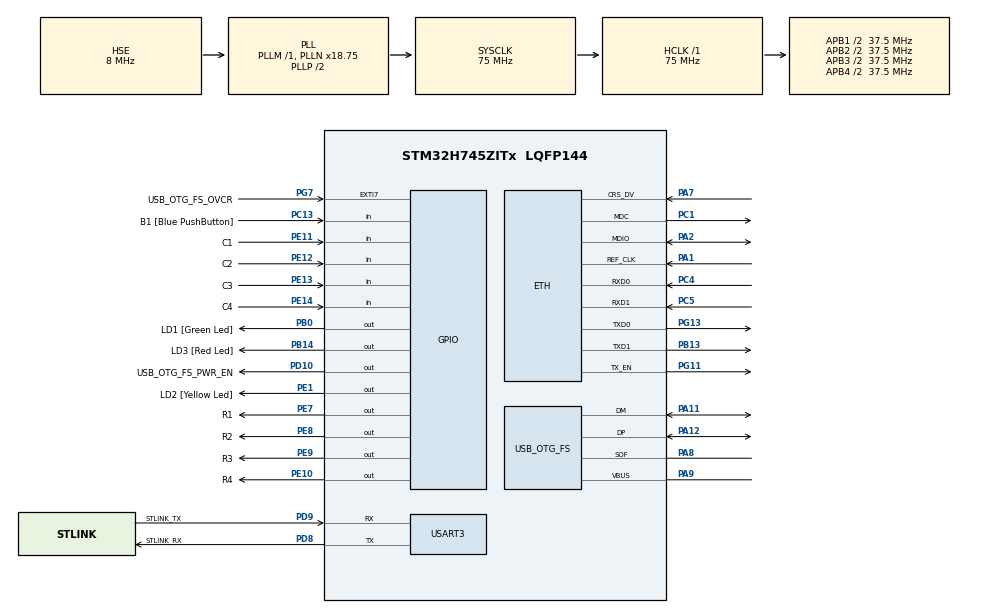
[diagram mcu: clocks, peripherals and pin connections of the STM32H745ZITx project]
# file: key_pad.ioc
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CortexM4.IPs=FATFS_M4\:I,FREERTOS_M4\:I,IWDG2\:I,RCC,WWDG2\:I,DMA,BDMA,MDMA,NVIC2\:I,USART3,ETH,DEBUG,USB_DEVICE_M4\:I,USB_HOST_M4\:I,PDM2PCM_M4\:I,PWR,RESMGR_UTILITY,SYS_M4\:I,CORTEX_M4\:I,OPENAMP_M4\:I,VREFBUF,GPIO
CortexM7.IPs=FATFS_M7\:I,FREERTOS_M7\:I,IWDG1\:I,RCC\:I,WWDG1\:I,DMA\:I,BDMA\:I,MDMA\:I,NVIC1\:I,SYS\:I,USART3\:I,USB_OTG_FS\:I,ETH\:I,CORTEX_M7\:I,DEBUG\:I,USB_DEVICE_M7\:I,USB_HOST_M7\:I,PDM2PCM_M7\:I,PWR\:I,RESMGR_UTILITY\:I,OPENAMP_M7\:I,VREFBUF\:I,GPIO\:I,TIM15\:I
CortexM7.Pins=PE7,PE8,PE9,PE10,PE11,PE12,PE13,PE14,PG7,PE1
ETH.MediaInterface=HAL_ETH_RMII_MODE
FREERTOS_M7.Queues01=QueueLcdMatriz,16,uint16_t,0,Dynamic,NULL,NULL
FREERTOS_M7.Tasks01=defaultTask,24,128,StartDefaultTask,Default,NULL,Dynamic,NULL,NULL;keyPadTask,24,128,StartkeyPadTask,Default,NULL,Dynamic,NULL,NULL
FREERTOS_M7.configUSE_NEWLIB_REENTRANT=1
Mcu.Family=STM32H7
Mcu.Name=STM32H745ZITx
Mcu.Package=LQFP144
NVIC1.PriorityGroup=NVIC_PRIORITYGROUP_4
NVIC1.TIM15_IRQn=true\:15\:0\:false\:false\:true\:false\:false\:true\:true
NVIC1.TimeBase=TIM15_IRQn
NVIC1.TimeBaseIP=TIM15
NVIC2.PriorityGroup=NVIC_PRIORITYGROUP_4
PA1.Mode=RMII
PA1.PinAttribute=CortexM7
PA1.Signal=ETH_REF_CLK
PA11.Mode=Device_Only
PA11.PinAttribute=CortexM7
PA11.Signal=USB_OTG_FS_DM
PA12.Mode=Device_Only
PA12.PinAttribute=CortexM7
PA12.Signal=USB_OTG_FS_DP
PA2.Mode=RMII
PA2.PinAttribute=CortexM7
PA2.Signal=ETH_MDIO
PA7.Mode=RMII
PA7.PinAttribute=CortexM7
PA7.Signal=ETH_CRS_DV
PA8.Mode=Activate_SOF_FS
PA8.PinAttribute=CortexM7
PA8.Signal=USB_OTG_FS_SOF
PA9.Mode=Activate_VBUS
PA9.PinAttribute=CortexM7
PA9.Signal=USB_OTG_FS_VBUS
PB0.GPIO_Label=LD1 [Green Led]
PB0.GPIO_PuPd=GPIO_PULLUP
PB0.PinAttribute=Free
PB0.Signal=GPIO_Output
PB13.Mode=RMII
PB13.PinAttribute=CortexM7
PB13.Signal=ETH_TXD1
PB14.GPIO_Label=LD3 [Red Led]
PB14.GPIO_PuPd=GPIO_PULLUP
PB14.PinAttribute=Free
PB14.Signal=GPIO_Output
PC1.Mode=RMII
PC1.PinAttribute=CortexM7
PC1.Signal=ETH_MDC
PC13.GPIO_Label=B1 [Blue PushButton]
PC13.PinAttribute=Free
PC13.Signal=GPIO_Input
PC14-OSC32_IN\ (OSC32_IN).Mode=LSE-External-Oscillator
PC14-OSC32_IN\ (OSC32_IN).PinAttribute=CortexM7
PC14-OSC32_IN\ (OSC32_IN).Signal=RCC_OSC32_IN
PC15-OSC32_OUT\ (OSC32_OUT).Mode=LSE-External-Oscillator
PC15-OSC32_OUT\ (OSC32_OUT).PinAttribute=CortexM7
PC15-OSC32_OUT\ (OSC32_OUT).Signal=RCC_OSC32_OUT
PC4.Mode=RMII
PC4.PinAttribute=CortexM7
PC4.Signal=ETH_RXD0
PC5.Mode=RMII
PC5.PinAttribute=CortexM7
PC5.Signal=ETH_RXD1
PD10.GPIO_Label=USB_OTG_FS_PWR_EN
PD10.PinAttribute=Free
PD10.Signal=GPIO_Output
PD8.GPIO_Label=STLINK_RX
PD8.Mode=Asynchronous
PD8.PinAttribute=CortexM7
PD8.Signal=USART3_TX
PD9.GPIO_Label=STLINK_TX
PD9.Mode=Asynchronous
PD9.PinAttribute=CortexM7
PD9.Signal=USART3_RX
PE1.GPIO_Label=LD2 [Yellow Led]
PE1.GPIO_PuPd=GPIO_PULLUP
PE1.PinAttribute=CortexM7
PE1.Signal=GPIO_Output
PE10.GPIO_Label=R4
PE10.GPIO_PuPd=GPIO_PULLUP
PE10.PinAttribute=CortexM7
PE10.Signal=GPIO_Output
PE11.GPIO_Label=C1
PE11.GPIO_PuPd=GPIO_PULLUP
PE11.PinAttribute=CortexM7
PE11.Signal=GPIO_Input
PE12.GPIO_Label=C2
PE12.GPIO_PuPd=GPIO_PULLUP
PE12.PinAttribute=CortexM7
PE12.Signal=GPIO_Input
PE13.GPIO_Label=C3
PE13.GPIO_PuPd=GPIO_PULLUP
PE13.PinAttribute=CortexM7
PE13.Signal=GPIO_Input
PE14.GPIO_Label=C4
PE14.GPIO_PuPd=GPIO_PULLUP
PE14.PinAttribute=CortexM7
PE14.Signal=GPIO_Input
PE7.GPIO_Label=R1
PE7.GPIO_PuPd=GPIO_PULLUP
PE7.PinAttribute=CortexM7
PE7.Signal=GPIO_Output
PE8.GPIO_Label=R2
PE8.GPIO_PuPd=GPIO_PULLUP
PE8.PinAttribute=CortexM7
PE8.Signal=GPIO_Output
PE9.GPIO_Label=R3
PE9.GPIO_PuPd=GPIO_PULLUP
PE9.PinAttribute=CortexM7
PE9.Signal=GPIO_Output
PG11.Mode=RMII
PG11.PinAttribute=CortexM7
PG11.Signal=ETH_TX_EN
PG13.Mode=RMII
PG13.PinAttribute=CortexM7
PG13.Signal=ETH_TXD0
PG7.GPIO_Label=USB_OTG_FS_OVCR
PG7.PinAttribute=CortexM7
PG7.Signal=GPXTI7
PH0-OSC_IN\ (PH0).Mode=HSE-External-Clock-Source
PH0-OSC_IN\ (PH0).PinAttribute=CortexM7
PH0-OSC_IN\ (PH0).Signal=RCC_OSC_IN
PH1-OSC_OUT\ (PH1).PinAttribute=CortexM7
PH1-OSC_OUT\ (PH1).Signal=RCC_OSC_OUT
ProjectManager.HeapSize=M4-0x200,M7-0x200
ProjectManager.StackSize=M4-0x400,M7-0x400
ProjectManager.TargetToolchain=STM32CubeIDE
RCC.ADCFreq_Value=16125000
RCC.APB1Freq_Value=37500000
RCC.APB2Freq_Value=37500000
RCC.APB3Freq_Value=37500000
RCC.APB4Freq_Value=37500000
RCC.CortexFreq_Value=75000000
RCC.D1PPRE=RCC_APB3_DIV2
RCC.D2PPRE1=RCC_APB1_DIV2
RCC.D2PPRE2=RCC_APB2_DIV2
RCC.D3PPRE=RCC_APB4_DIV2
RCC.DIVM1=1
RCC.DIVM3=1
RCC.DIVN1=18
RCC.DIVN3=18
RCC.DIVQ3=3
RCC.HCLKFreq_Value=75000000
RCC.HSE_VALUE=8000000
RCC.PLL2FRACN=0
RCC.PLL3FRACN=6144
RCC.PLLFRACN=6144
RCC.SYSCLKFreq_VALUE=75000000
RCC.SYSCLKSource=RCC_SYSCLKSOURCE_PLLCLK
RCC.SupplySource=PWR_DIRECT_SMPS_SUPPLY
RCC.USBCLockSelection=RCC_USBCLKSOURCE_PLL3
RCC.USBFreq_Value=50000000
USART3.VirtualMode-Asynchronous=VM_ASYNC
USB_OTG_FS.VirtualMode=Device_Only
VP_FREERTOS_M7_VS_CMSIS_V2.Mode=CMSIS_V2
VP_SYS_M4_VS_Systick.Mode=SysTick
VP_SYS_VS_tim15.Mode=TIM15
board=NUCLEO-H745ZI-Q

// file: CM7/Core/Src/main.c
/* USER CODE BEGIN Header */
/**
  ******************************************************************************
  * @file           : main.c
  * @brief          : Main program body
  ******************************************************************************
  * @attention
  *
  * Copyright (c) 2023 STMicroelectronics.
  * All rights reserved.
  *
  * This software is licensed under terms that can be found in the LICENSE file
  * in the root directory of this software component.
  * If no LICENSE file comes with this software, it is provided AS-IS.
  *
  ******************************************************************************
  */
/* USER CODE END Header */
#include "main.h"
#include "string.h"
#include "cmsis_os.h"

/* USER CODE BEGIN PD */

#ifndef HSEM_ID_0
#define HSEM_ID_0 (0U) /* HW semaphore 0*/
#endif

/* USER CODE END PD */

#if defined ( __ICCARM__ ) /*!< IAR Compiler */
#pragma location=0x30000000
ETH_DMADescTypeDef  DMARxDscrTab[ETH_RX_DESC_CNT]; /* Ethernet Rx DMA Descriptors */
#pragma location=0x30000200
ETH_DMADescTypeDef  DMATxDscrTab[ETH_TX_DESC_CNT]; /* Ethernet Tx DMA Descriptors */

#elif defined ( __CC_ARM )  /* MDK ARM Compiler */

__attribute__((at(0x30000000))) ETH_DMADescTypeDef  DMARxDscrTab[ETH_RX_DESC_CNT]; /* Ethernet Rx DMA Descriptors */
__attribute__((at(0x30000200))) ETH_DMADescTypeDef  DMATxDscrTab[ETH_TX_DESC_CNT]; /* Ethernet Tx DMA Descriptors */

#elif defined ( __GNUC__ ) /* GNU Compiler */
ETH_DMADescTypeDef DMARxDscrTab[ETH_RX_DESC_CNT] __attribute__((section(".RxDecripSection"))); /* Ethernet Rx DMA Descriptors */
ETH_DMADescTypeDef DMATxDscrTab[ETH_TX_DESC_CNT] __attribute__((section(".TxDecripSection")));   /* Ethernet Tx DMA Descriptors */

#endif

ETH_TxPacketConfig TxConfig;

ETH_HandleTypeDef heth;

UART_HandleTypeDef huart3;

PCD_HandleTypeDef hpcd_USB_OTG_FS;

/* Definitions for defaultTask */
osThreadId_t defaultTaskHandle;
const osThreadAttr_t defaultTask_attributes = {
  .name = "defaultTask",
  .stack_size = 128 * 4,
  .priority = (osPriority_t) osPriorityNormal,
};
/* Definitions for keyPadTask */
osThreadId_t keyPadTaskHandle;
const osThreadAttr_t keyPadTask_attributes = {
  .name = "keyPadTask",
  .stack_size = 128 * 4,
  .priority = (osPriority_t) osPriorityNormal,
};
/* Definitions for QueueLcdMatriz */
osMessageQueueId_t QueueLcdMatrizHandle;
const osMessageQueueAttr_t QueueLcdMatriz_attributes = {
  .name = "QueueLcdMatriz"
};
/* USER CODE BEGIN PV */
char key;
char val_key;
const char keys [4][4]={{'1','2','3','A'},
						{'4','5','6','B'},
						{'7','8','9','C'},
						{'*','0','#','D'}};
/* USER CODE END PV */

void SystemClock_Config(void);
static void MX_GPIO_Init(void);
static void MX_ETH_Init(void);
static void MX_USART3_UART_Init(void);
static void MX_USB_OTG_FS_PCD_Init(void);
void StartDefaultTask(void *argument);
void StartkeyPadTask(void *argument);

int main(void)
{
/* USER CODE BEGIN Boot_Mode_Sequence_0 */
  int32_t timeout;
/* USER CODE END Boot_Mode_Sequence_0 */

/* USER CODE BEGIN Boot_Mode_Sequence_1 */
  /* Wait until CPU2 boots and enters in stop mode or timeout*/
  timeout = 0xFFFF;
  while((__HAL_RCC_GET_FLAG(RCC_FLAG_D2CKRDY) != RESET) && (timeout-- > 0));
  if ( timeout < 0 )
  {
  Error_Handler();
  }
/* USER CODE END Boot_Mode_Sequence_1 */
  /* MCU Configuration--------------------------------------------------------*/

  /* Reset of all peripherals, Initializes the Flash interface and the Systick. */
  HAL_Init();

  /* Configure the system clock */
  SystemClock_Config();
/* USER CODE BEGIN Boot_Mode_Sequence_2 */
/* When system initialization is finished, Cortex-M7 will release Cortex-M4 by means of
HSEM notification */
/*HW semaphore Clock enable*/
__HAL_RCC_HSEM_CLK_ENABLE();
/*Take HSEM */
HAL_HSEM_FastTake(HSEM_ID_0);
/*Release HSEM in order to notify the CPU2(CM4)*/
HAL_HSEM_Release(HSEM_ID_0,0);
/* wait until CPU2 wakes up from stop mode */
timeout = 0xFFFF;
while((__HAL_RCC_GET_FLAG(RCC_FLAG_D2CKRDY) == RESET) && (timeout-- > 0));
if ( timeout < 0 )
{
Error_Handler();
}
/* USER CODE END Boot_Mode_Sequence_2 */

  /* Initialize all configured peripherals */
  MX_GPIO_Init();
  MX_ETH_Init();
  MX_USART3_UART_Init();
  MX_USB_OTG_FS_PCD_Init();

  /* Init scheduler */
  osKernelInitialize();

  /* Create the queue(s) */
  /* creation of QueueLcdMatriz */
  QueueLcdMatrizHandle = osMessageQueueNew (16, sizeof(uint16_t), &QueueLcdMatriz_attributes);

  /* Create the thread(s) */
  /* creation of defaultTask */
  defaultTaskHandle = osThreadNew(StartDefaultTask, NULL, &defaultTask_attributes);

  /* creation of keyPadTask */
  keyPadTaskHandle = osThreadNew(StartkeyPadTask, NULL, &keyPadTask_attributes);

  /* Start scheduler */
  osKernelStart();

  /* We should never get here as control is now taken by the scheduler */
  /* Infinite loop */
  while (1)
  {

  }
}

void SystemClock_Config(void)
{
  RCC_OscInitTypeDef RCC_OscInitStruct = {0};
  RCC_ClkInitTypeDef RCC_ClkInitStruct = {0};

  /** Supply configuration update enable
  */
  HAL_PWREx_ConfigSupply(PWR_DIRECT_SMPS_SUPPLY);

  /** Configure the main internal regulator output voltage
  */
  __HAL_PWR_VOLTAGESCALING_CONFIG(PWR_REGULATOR_VOLTAGE_SCALE3);

  while(!__HAL_PWR_GET_FLAG(PWR_FLAG_VOSRDY)) {}

  /** Initializes the RCC Oscillators according to the specified parameters
  * in the RCC_OscInitTypeDef structure.
  */
  RCC_OscInitStruct.OscillatorType = RCC_OSCILLATORTYPE_HSE;
  RCC_OscInitStruct.HSEState = RCC_HSE_BYPASS;
  RCC_OscInitStruct.PLL.PLLState = RCC_PLL_ON;
  RCC_OscInitStruct.PLL.PLLSource = RCC_PLLSOURCE_HSE;
  RCC_OscInitStruct.PLL.PLLM = 1;
  RCC_OscInitStruct.PLL.PLLN = 18;
  RCC_OscInitStruct.PLL.PLLP = 2;
  RCC_OscInitStruct.PLL.PLLQ = 2;
  RCC_OscInitStruct.PLL.PLLR = 2;
  RCC_OscInitStruct.PLL.PLLRGE = RCC_PLL1VCIRANGE_3;
  RCC_OscInitStruct.PLL.PLLVCOSEL = RCC_PLL1VCOMEDIUM;
  RCC_OscInitStruct.PLL.PLLFRACN = 6144;
  if (HAL_RCC_OscConfig(&RCC_OscInitStruct) != HAL_OK)
  {
    Error_Handler();
  }

  /** Initializes the CPU, AHB and APB buses clocks
  */
  RCC_ClkInitStruct.ClockType = RCC_CLOCKTYPE_HCLK|RCC_CLOCKTYPE_SYSCLK
                              |RCC_CLOCKTYPE_PCLK1|RCC_CLOCKTYPE_PCLK2
                              |RCC_CLOCKTYPE_D3PCLK1|RCC_CLOCKTYPE_D1PCLK1;
  RCC_ClkInitStruct.SYSCLKSource = RCC_SYSCLKSOURCE_PLLCLK;
  RCC_ClkInitStruct.SYSCLKDivider = RCC_SYSCLK_DIV1;
  RCC_ClkInitStruct.AHBCLKDivider = RCC_HCLK_DIV1;
  RCC_ClkInitStruct.APB3CLKDivider = RCC_APB3_DIV2;
  RCC_ClkInitStruct.APB1CLKDivider = RCC_APB1_DIV2;
  RCC_ClkInitStruct.APB2CLKDivider = RCC_APB2_DIV2;
  RCC_ClkInitStruct.APB4CLKDivider = RCC_APB4_DIV2;

  if (HAL_RCC_ClockConfig(&RCC_ClkInitStruct, FLASH_LATENCY_1) != HAL_OK)
  {
    Error_Handler();
  }
}

static void MX_ETH_Init(void)
{

   static uint8_t MACAddr[6];

  heth.Instance = ETH;
  MACAddr[0] = 0x00;
  MACAddr[1] = 0x80;
  MACAddr[2] = 0xE1;
  MACAddr[3] = 0x00;
  MACAddr[4] = 0x00;
  MACAddr[5] = 0x00;
  heth.Init.MACAddr = &MACAddr[0];
  heth.Init.MediaInterface = HAL_ETH_RMII_MODE;
  heth.Init.TxDesc = DMATxDscrTab;
  heth.Init.RxDesc = DMARxDscrTab;
  heth.Init.RxBuffLen = 1524;

  if (HAL_ETH_Init(&heth) != HAL_OK)
  {
    Error_Handler();
  }

  memset(&TxConfig, 0 , sizeof(ETH_TxPacketConfig));
  TxConfig.Attributes = ETH_TX_PACKETS_FEATURES_CSUM | ETH_TX_PACKETS_FEATURES_CRCPAD;
  TxConfig.ChecksumCtrl = ETH_CHECKSUM_IPHDR_PAYLOAD_INSERT_PHDR_CALC;
  TxConfig.CRCPadCtrl = ETH_CRC_PAD_INSERT;

}

static void MX_USART3_UART_Init(void)
{

  huart3.Instance = USART3;
  huart3.Init.BaudRate = 115200;
  huart3.Init.WordLength = UART_WORDLENGTH_8B;
  huart3.Init.StopBits = UART_STOPBITS_1;
  huart3.Init.Parity = UART_PARITY_NONE;
  huart3.Init.Mode = UART_MODE_TX_RX;
  huart3.Init.HwFlowCtl = UART_HWCONTROL_NONE;
  huart3.Init.OverSampling = UART_OVERSAMPLING_16;
  huart3.Init.OneBitSampling = UART_ONE_BIT_SAMPLE_DISABLE;
  huart3.Init.ClockPrescaler = UART_PRESCALER_DIV1;
  huart3.AdvancedInit.AdvFeatureInit = UART_ADVFEATURE_NO_INIT;
  if (HAL_UART_Init(&huart3) != HAL_OK)
  {
    Error_Handler();
  }
  if (HAL_UARTEx_SetTxFifoThreshold(&huart3, UART_TXFIFO_THRESHOLD_1_8) != HAL_OK)
  {
    Error_Handler();
  }
  if (HAL_UARTEx_SetRxFifoThreshold(&huart3, UART_RXFIFO_THRESHOLD_1_8) != HAL_OK)
  {
    Error_Handler();
  }
  if (HAL_UARTEx_DisableFifoMode(&huart3) != HAL_OK)
  {
    Error_Handler();
  }

}

static void MX_USB_OTG_FS_PCD_Init(void)
{

  hpcd_USB_OTG_FS.Instance = USB_OTG_FS;
  hpcd_USB_OTG_FS.Init.dev_endpoints = 9;
  hpcd_USB_OTG_FS.Init.speed = PCD_SPEED_FULL;
  hpcd_USB_OTG_FS.Init.dma_enable = DISABLE;
  hpcd_USB_OTG_FS.Init.phy_itface = PCD_PHY_EMBEDDED;
  hpcd_USB_OTG_FS.Init.Sof_enable = DISABLE;
  hpcd_USB_OTG_FS.Init.low_power_enable = DISABLE;
  hpcd_USB_OTG_FS.Init.lpm_enable = DISABLE;
  hpcd_USB_OTG_FS.Init.battery_charging_enable = ENABLE;
  hpcd_USB_OTG_FS.Init.vbus_sensing_enable = ENABLE;
  hpcd_USB_OTG_FS.Init.use_dedicated_ep1 = DISABLE;
  if (HAL_PCD_Init(&hpcd_USB_OTG_FS) != HAL_OK)
  {
    Error_Handler();
  }

}

static void MX_GPIO_Init(void)
{
  GPIO_InitTypeDef GPIO_InitStruct = {0};

  /* GPIO Ports Clock Enable */
  __HAL_RCC_GPIOC_CLK_ENABLE();
  __HAL_RCC_GPIOH_CLK_ENABLE();
  __HAL_RCC_GPIOA_CLK_ENABLE();
  __HAL_RCC_GPIOE_CLK_ENABLE();
  __HAL_RCC_GPIOB_CLK_ENABLE();
  __HAL_RCC_GPIOD_CLK_ENABLE();
  __HAL_RCC_GPIOG_CLK_ENABLE();

  /*Configure GPIO pin Output Level */
  HAL_GPIO_WritePin(GPIOE, R1_Pin|R2_Pin|R3_Pin|R4_Pin
                          |LD2_Pin, GPIO_PIN_RESET);

  /*Configure GPIO pins : R1_Pin R2_Pin R3_Pin R4_Pin
                           LD2_Pin */
  GPIO_InitStruct.Pin = R1_Pin|R2_Pin|R3_Pin|R4_Pin
                          |LD2_Pin;
  GPIO_InitStruct.Mode = GPIO_MODE_OUTPUT_PP;
  GPIO_InitStruct.Pull = GPIO_PULLUP;
  GPIO_InitStruct.Speed = GPIO_SPEED_FREQ_LOW;
  HAL_GPIO_Init(GPIOE, &GPIO_InitStruct);

  /*Configure GPIO pins : C1_Pin C2_Pin C3_Pin C4_Pin */
  GPIO_InitStruct.Pin = C1_Pin|C2_Pin|C3_Pin|C4_Pin;
  GPIO_InitStruct.Mode = GPIO_MODE_INPUT;
  GPIO_InitStruct.Pull = GPIO_PULLUP;
  HAL_GPIO_Init(GPIOE, &GPIO_InitStruct);

  /*Configure GPIO pin : USB_OTG_FS_OVCR_Pin */
  GPIO_InitStruct.Pin = USB_OTG_FS_OVCR_Pin;
  GPIO_InitStruct.Mode = GPIO_MODE_IT_RISING;
  GPIO_InitStruct.Pull = GPIO_NOPULL;
  HAL_GPIO_Init(USB_OTG_FS_OVCR_GPIO_Port, &GPIO_InitStruct);

}

void StartDefaultTask(void *argument)
{
  for(;;)
  {
    osDelay(1);
  }
}

void StartkeyPadTask(void *argument)
{
  /* USER CODE BEGIN StartkeyPadTask */
	val_key = 0;
	char msg [50];
  /* Infinite loop */
  for(;;)
  {
    osDelay(1);

    	HAL_GPIO_WritePin(R1_GPIO_Port, R1_Pin, GPIO_PIN_RESET);
    	HAL_GPIO_WritePin(R2_GPIO_Port, R2_Pin, GPIO_PIN_SET);
    	HAL_GPIO_WritePin(R3_GPIO_Port, R3_Pin, GPIO_PIN_SET);
    	HAL_GPIO_WritePin(R4_GPIO_Port, R4_Pin, GPIO_PIN_SET);

    	if(!(HAL_GPIO_ReadPin(C1_GPIO_Port, C1_Pin))){
    		HAL_Delay(4);
    		while(!(HAL_GPIO_ReadPin (C1_GPIO_Port, C1_Pin)));
    		HAL_Delay(4);
    		val_key = keys[0][0];
    	}
    	if(!(HAL_GPIO_ReadPin(C2_GPIO_Port, C2_Pin))){
    		HAL_Delay(4);
    		while(!(HAL_GPIO_ReadPin(C2_GPIO_Port, C2_Pin)));
    		HAL_Delay(4);
    		val_key = keys[0][1];
    	}
    	if(!(HAL_GPIO_ReadPin(C3_GPIO_Port, C3_Pin))){
    		HAL_Delay(4);
    		while(!(HAL_GPIO_ReadPin(C3_GPIO_Port, C3_Pin)));
    		HAL_Delay(4);
    		val_key = keys[0][2];
    	}
    	if (!(HAL_GPIO_ReadPin(C4_GPIO_Port, C4_Pin))){
    		HAL_Delay(4);
    		while(!(HAL_GPIO_ReadPin(C4_GPIO_Port, C4_Pin)));
    		HAL_Delay(4);
    		val_key = keys[0][3];
    	}

    	HAL_GPIO_WritePin(R1_GPIO_Port, R1_Pin, GPIO_PIN_SET);
    	HAL_GPIO_WritePin(R2_GPIO_Port, R2_Pin, GPIO_PIN_RESET);
    	HAL_GPIO_WritePin(R3_GPIO_Port, R3_Pin, GPIO_PIN_SET);
    	HAL_GPIO_WritePin(R4_GPIO_Port, R4_Pin, GPIO_PIN_SET);

    	if(!(HAL_GPIO_ReadPin(C1_GPIO_Port, C1_Pin))){
    		HAL_Delay(4);
    		while(!(HAL_GPIO_ReadPin(C1_GPIO_Port, C1_Pin)));
    		HAL_Delay(4);
    		val_key = keys[1][0];
    	}
    	if(!(HAL_GPIO_ReadPin(C2_GPIO_Port, C2_Pin))){
    		HAL_Delay(4);
    		while(!(HAL_GPIO_ReadPin(C2_GPIO_Port, C2_Pin)));
    		HAL_Delay(4);
    		val_key = keys[1][1];
    	}
    	if(!(HAL_GPIO_ReadPin(C3_GPIO_Port, C3_Pin))){
    		HAL_Delay(4);
    		while(!(HAL_GPIO_ReadPin(C3_GPIO_Port, C3_Pin)));
    		HAL_Delay(4);
    		val_key = keys[1][2];
    	}
    	if(!(HAL_GPIO_ReadPin(C4_GPIO_Port, C4_Pin))){
    		HAL_Delay(4);
    		while(!(HAL_GPIO_ReadPin(C4_GPIO_Port, C4_Pin)));
    		HAL_Delay(4);
    		val_key = keys[1][3];
    	}

    	HAL_GPIO_WritePin(R1_GPIO_Port, R1_Pin, GPIO_PIN_SET);
    	HAL_GPIO_WritePin(R2_GPIO_Port, R2_Pin, GPIO_PIN_SET);
    	HAL_GPIO_WritePin(R3_GPIO_Port, R3_Pin, GPIO_PIN_RESET);
    	HAL_GPIO_WritePin(R4_GPIO_Port, R4_Pin, GPIO_PIN_SET);

    	if(!(HAL_GPIO_ReadPin(C1_GPIO_Port, C1_Pin))){
    		HAL_Delay(4);
    		while(!(HAL_GPIO_ReadPin(C1_GPIO_Port, C1_Pin)));
    		HAL_Delay(4);
    		val_key = keys[2][0];
    	}
    	if(!(HAL_GPIO_ReadPin(C2_GPIO_Port, C2_Pin))){
    		HAL_Delay(4);
    		while(!(HAL_GPIO_ReadPin(C2_GPIO_Port, C2_Pin)));
    		HAL_Delay(4);
    		val_key = keys[2][1];
    	}
    	if(!(HAL_GPIO_ReadPin(C3_GPIO_Port, C3_Pin))){
    		HAL_Delay(4);
    		while(!(HAL_GPIO_ReadPin(C3_GPIO_Port, C3_Pin)));
    		HAL_Delay(4);
    		val_key = keys[2][2];
    	}
    	if(!(HAL_GPIO_ReadPin (C4_GPIO_Port, C4_Pin))){
    		HAL_Delay(4);
    		while(!(HAL_GPIO_ReadPin(C4_GPIO_Port, C4_Pin)));
    		HAL_Delay(4);
    		val_key = keys[2][3];
    	}

    	HAL_GPIO_WritePin(R1_GPIO_Port, R1_Pin, GPIO_PIN_SET);
    	HAL_GPIO_WritePin(R2_GPIO_Port, R2_Pin, GPIO_PIN_SET);
    	HAL_GPIO_WritePin(R3_GPIO_Port, R3_Pin, GPIO_PIN_SET);
    	HAL_GPIO_WritePin(R4_GPIO_Port, R4_Pin, GPIO_PIN_RESET);

    	if(!(HAL_GPIO_ReadPin(C1_GPIO_Port, C1_Pin))){
    		HAL_Delay(4);
    		while(!(HAL_GPIO_ReadPin(C1_GPIO_Port, C1_Pin)));
    		HAL_Delay(4);
    		val_key = keys[3][0];
    	}
    	if(!(HAL_GPIO_ReadPin(C2_GPIO_Port, C2_Pin))){
    		HAL_Delay(4);
    		while (!(HAL_GPIO_ReadPin(C2_GPIO_Port, C2_Pin)));
    		HAL_Delay(4);
    		val_key = keys[3][1];
    	}
    	if(!(HAL_GPIO_ReadPin(C3_GPIO_Port, C3_Pin))){
    		HAL_Delay(4);
    		while(!(HAL_GPIO_ReadPin(C3_GPIO_Port, C3_Pin)));
    		HAL_Delay(4);
    		val_key = keys[3][2];
    	}
    	if(!(HAL_GPIO_ReadPin(C4_GPIO_Port, C4_Pin))){
    		HAL_Delay(4);
    		while(!(HAL_GPIO_ReadPin(C4_GPIO_Port, C4_Pin)));
    		HAL_Delay(4);
    		val_key = keys[3][3];
    	}

    	snprintf(msg, sizeof(msg), "Dat: %c \r\n", val_key);
    	HAL_UART_Transmit(&huart3, (uint8_t*)msg, strlen(msg), 10);

  }
  /* USER CODE END StartkeyPadTask */
}

void HAL_TIM_PeriodElapsedCallback(TIM_HandleTypeDef *htim)
{
  if (htim->Instance == TIM15) {
    HAL_IncTick();
  }
}

void Error_Handler(void)
{
  __disable_irq();
  while (1)
  {
  }
}
